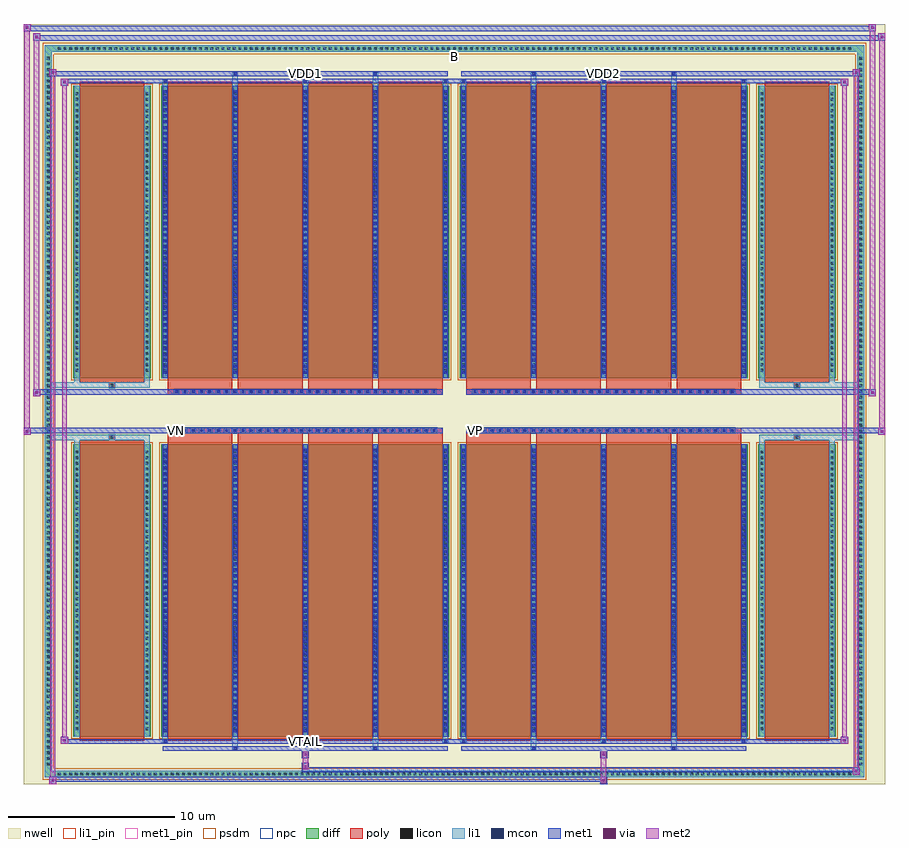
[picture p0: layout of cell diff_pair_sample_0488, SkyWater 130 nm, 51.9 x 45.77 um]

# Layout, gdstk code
import gdstk
lib = gdstk.Library(unit=1e-6, precision=5e-09)
def R(c, l, rs):  # rectangles x0, y0, x1, y1
    for r in rs: c.add(gdstk.rectangle(r[:2], r[2:], *l))
def A(c, l, x, y, w, h, nx, ny, dx, dy):  # array of equal rectangles
    R(c, l, [(x+i*dx, y+j*dy, x+i*dx+w, y+j*dy+h) for i in range(nx) for j in range(ny)])
def P(c, l, *ps):  # polygons
    for p in ps: c.add(gdstk.Polygon(p, *l))
nwell = (64, 20)
diff = (65, 20)
poly = (66, 20)
licon = (66, 44)
li1_pin = (67, 16)
li1 = (67, 20)
mcon = (67, 44)
met1_pin = (68, 16)
met1 = (68, 20)
via = (68, 44)
met2 = (69, 20)
psdm = (94, 20)
npc = (95, 20)

diff_pair_sample_0488 = lib.new_cell('diff_pair_sample_0488')
R(diff_pair_sample_0488, nwell, [(-25.95,-22.45,25.95,23.32), (-23.27,-20.64,-0.01,-0.8), (0.01,-20.64,23.27,-0.8), (-23.27,0.8,-0.01,20.64), (0.01,0.8,23.27,20.64)])
A(diff_pair_sample_0488, diff, -24.005, -22.05, 0.41, 0.41, 141, 2, 0.34, 43.69)
A(diff_pair_sample_0488, diff, -24.68, -21.455, 0.41, 0.41, 1, 126, 0, 0.34)
A(diff_pair_sample_0488, diff, 24.27, -21.455, 0.41, 0.41, 1, 126, 0, 0.34)
R(diff_pair_sample_0488, diff, [(-24.005,-22.05,24.005,-21.64), (-24.68,-21.455,-24.27,21.455), (24.27,-21.455,24.68,21.455), (-22.96,-19.595,-18.29,-1.985), (-17.65,-19.595,-0.32,-1.985), (0.32,-19.595,17.65,-1.985), (18.29,-19.595,22.96,-1.985), (-22.96,1.985,-18.29,19.595), (-17.65,1.985,-0.32,19.595), (0.32,1.985,17.65,19.595), (18.29,1.985,22.96,19.595), (-24.005,21.64,24.005,22.05)])
P(diff_pair_sample_0488, diff, [(24.68,22.05),(-24.68,22.05),(-24.68,-21.64),(-24.27,-21.64),(-24.27,21.64),(24.27,21.64),(24.27,-21.64),(-24.27,-21.64),(-24.68,-21.64),(-24.68,-22.05),(24.68,-22.05)])
A(diff_pair_sample_0488, poly, -17.26, -19.845, 3.89, 18.11, 4, 2, 4.22, 21.58)
A(diff_pair_sample_0488, poly, 0.71, -19.845, 3.89, 18.11, 4, 2, 4.22, 21.58)
A(diff_pair_sample_0488, poly, -17.26, -1.735, 3.89, 0.405, 4, 2, 4.22, 3.065)
A(diff_pair_sample_0488, poly, 0.71, -1.735, 3.89, 0.405, 4, 2, 4.22, 3.065)
A(diff_pair_sample_0488, poly, -16.9, -1.33, 0.33, 0.33, 32, 2, 0.5, 2.33)
A(diff_pair_sample_0488, poly, 1.07, -1.33, 0.33, 0.33, 32, 2, 0.5, 2.33)
R(diff_pair_sample_0488, poly, [(-22.57,-19.845,-18.68,-1.735), (18.68,-19.845,22.57,-1.735), (-20.79,-1.735,-20.46,-1.405), (-20.79,-1.735,-20.46,-1.405), (20.46,-1.735,20.79,-1.405), (20.46,-1.735,20.79,-1.405), (-17.26,-1.33,-0.71,-1), (0.71,-1.33,17.26,-1), (-17.26,1,-0.71,1.33), (0.71,1,17.26,1.33), (-20.79,1.405,-20.46,1.735), (-20.79,1.405,-20.46,1.735), (20.46,1.405,20.79,1.735), (20.46,1.405,20.79,1.735), (-22.57,1.735,-18.68,19.845), (18.68,1.735,22.57,19.845)])
A(diff_pair_sample_0488, licon, -23.885, -21.93, 0.17, 0.17, 141, 2, 0.34, 43.69)
A(diff_pair_sample_0488, licon, -24.56, -21.335, 0.17, 0.17, 1, 126, 0, 0.34)
A(diff_pair_sample_0488, licon, 24.39, -21.335, 0.17, 0.17, 1, 126, 0, 0.34)
A(diff_pair_sample_0488, licon, -22.82, -19.205, 0.17, 0.17, 1, 50, 0, 0.34)
A(diff_pair_sample_0488, licon, -18.6, -19.205, 0.17, 0.17, 1, 50, 0, 0.34)
A(diff_pair_sample_0488, licon, -17.51, -19.205, 0.17, 0.17, 5, 50, 4.22, 0.34)
A(diff_pair_sample_0488, licon, 0.46, -19.205, 0.17, 0.17, 5, 50, 4.22, 0.34)
A(diff_pair_sample_0488, licon, 18.43, -19.205, 0.17, 0.17, 1, 50, 0, 0.34)
A(diff_pair_sample_0488, licon, 22.65, -19.205, 0.17, 0.17, 1, 50, 0, 0.34)
A(diff_pair_sample_0488, licon, -16.82, -1.25, 0.17, 0.17, 32, 2, 0.5, 2.33)
A(diff_pair_sample_0488, licon, 1.15, -1.25, 0.17, 0.17, 32, 2, 0.5, 2.33)
A(diff_pair_sample_0488, licon, -22.82, 2.375, 0.17, 0.17, 1, 50, 0, 0.34)
A(diff_pair_sample_0488, licon, -18.6, 2.375, 0.17, 0.17, 1, 50, 0, 0.34)
A(diff_pair_sample_0488, licon, -17.51, 2.375, 0.17, 0.17, 5, 50, 4.22, 0.34)
A(diff_pair_sample_0488, licon, 0.46, 2.375, 0.17, 0.17, 5, 50, 4.22, 0.34)
A(diff_pair_sample_0488, licon, 18.43, 2.375, 0.17, 0.17, 1, 50, 0, 0.34)
A(diff_pair_sample_0488, licon, 22.65, 2.375, 0.17, 0.17, 1, 50, 0, 0.34)
R(diff_pair_sample_0488, licon, [(-20.71,-1.655,-20.54,-1.485), (20.54,-1.655,20.71,-1.485), (-20.71,1.485,-20.54,1.655), (20.54,1.485,20.71,1.655)])
R(diff_pair_sample_0488, li1_pin, [(-0.25,21.14,0.25,21.64)])
A(diff_pair_sample_0488, li1, -23.965, -22.01, 0.33, 0.33, 141, 2, 0.34, 43.69)
A(diff_pair_sample_0488, li1, -24.64, -21.415, 0.33, 0.33, 1, 126, 0, 0.34)
A(diff_pair_sample_0488, li1, 24.31, -21.415, 0.33, 0.33, 1, 126, 0, 0.34)
A(diff_pair_sample_0488, li1, -17.59, -19.97, 0.33, 0.375, 3, 2, 8.44, 39.565)
A(diff_pair_sample_0488, li1, -17.51, -19.97, 0.17, 0.17, 3, 2, 8.44, 39.77)
A(diff_pair_sample_0488, li1, 0.38, -19.97, 0.33, 0.375, 3, 2, 8.44, 39.565)
A(diff_pair_sample_0488, li1, 0.46, -19.97, 0.17, 0.17, 3, 2, 8.44, 39.77)
A(diff_pair_sample_0488, li1, -17.59, -19.595, 0.33, 17.61, 5, 2, 4.22, 21.58)
A(diff_pair_sample_0488, li1, 0.38, -19.595, 0.33, 17.61, 5, 2, 4.22, 21.58)
A(diff_pair_sample_0488, li1, -17.51, -19.335, 0.17, 0.17, 5, 48, 4.22, 0.36)
A(diff_pair_sample_0488, li1, -17.51, -19.335, 0.17, 17.09, 5, 2, 4.22, 21.58)
A(diff_pair_sample_0488, li1, 0.46, -19.335, 0.17, 0.17, 5, 48, 4.22, 0.36)
A(diff_pair_sample_0488, li1, 0.46, -19.335, 0.17, 17.09, 5, 2, 4.22, 21.58)
A(diff_pair_sample_0488, li1, -22.9, -19.285, 0.33, 0.33, 1, 50, 0, 0.34)
A(diff_pair_sample_0488, li1, -18.68, -19.285, 0.33, 0.33, 1, 50, 0, 0.34)
A(diff_pair_sample_0488, li1, -17.59, -19.285, 0.33, 0.33, 5, 50, 4.22, 0.34)
A(diff_pair_sample_0488, li1, 0.38, -19.285, 0.33, 0.33, 5, 50, 4.22, 0.34)
A(diff_pair_sample_0488, li1, 18.35, -19.285, 0.33, 0.33, 1, 50, 0, 0.34)
A(diff_pair_sample_0488, li1, 22.57, -19.285, 0.33, 0.33, 1, 50, 0, 0.34)
A(diff_pair_sample_0488, li1, -16.9, -1.33, 0.33, 0.33, 32, 2, 0.5, 2.33)
A(diff_pair_sample_0488, li1, 1.07, -1.33, 0.33, 0.33, 32, 2, 0.5, 2.33)
A(diff_pair_sample_0488, li1, -17.51, 2.245, 0.17, 0.17, 5, 48, 4.22, 0.36)
A(diff_pair_sample_0488, li1, 0.46, 2.245, 0.17, 0.17, 5, 48, 4.22, 0.36)
A(diff_pair_sample_0488, li1, -22.9, 2.295, 0.33, 0.33, 1, 50, 0, 0.34)
A(diff_pair_sample_0488, li1, -18.68, 2.295, 0.33, 0.33, 1, 50, 0, 0.34)
A(diff_pair_sample_0488, li1, -17.59, 2.295, 0.33, 0.33, 5, 50, 4.22, 0.34)
A(diff_pair_sample_0488, li1, 0.38, 2.295, 0.33, 0.33, 5, 50, 4.22, 0.34)
A(diff_pair_sample_0488, li1, 18.35, 2.295, 0.33, 0.33, 1, 50, 0, 0.34)
A(diff_pair_sample_0488, li1, 22.57, 2.295, 0.33, 0.33, 1, 50, 0, 0.34)
R(diff_pair_sample_0488, li1, [(-24.68,-22.05,-24.27,-21.64), (-24.68,-22.05,-24.27,-21.64), (-24.27,-22.05,24.27,-21.64), (24.27,-22.05,24.68,-21.64), (24.27,-22.05,24.68,-21.64), (-24.68,-21.64,-24.27,21.64), (24.27,-21.64,24.68,21.64), (-13.37,-20.4,-13.04,-19.595), (-13.29,-20.4,-13.12,-20.23), (-4.93,-20.4,-4.6,-19.595), (-4.85,-20.4,-4.68,-20.23), (4.6,-20.4,4.93,-19.595), (4.68,-20.4,4.85,-20.23), (13.04,-20.4,13.37,-19.595), (13.12,-20.4,13.29,-20.23), (-22.9,-19.595,-22.57,-1.985), (-18.68,-19.595,-18.35,-1.985), (18.35,-19.595,18.68,-1.985), (22.57,-19.595,22.9,-1.985), (-22.9,-1.985,-22.57,-1.405), (-18.68,-1.985,-18.35,-1.405), (18.35,-1.985,18.68,-1.405), (22.57,-1.985,22.9,-1.405), (-24.68,-1.735,-20.79,-1.405), (-22.9,-1.735,-20.79,-1.405), (-20.79,-1.735,-20.46,-1.405), (-20.46,-1.735,-18.35,-1.405), (18.35,-1.735,20.46,-1.405), (20.46,-1.735,20.79,-1.405), (20.46,-1.735,24.68,-1.405), (20.79,-1.735,22.9,-1.405), (-24.68,1.405,-20.79,1.735), (-22.9,1.405,-20.79,1.735), (-22.9,1.405,-22.57,1.985), (-20.79,1.405,-20.46,1.735), (-20.46,1.405,-18.35,1.735), (-18.68,1.405,-18.35,1.985), (18.35,1.405,20.46,1.735), (18.35,1.405,18.68,1.985), (20.46,1.405,20.79,1.735), (20.46,1.405,24.68,1.735), (20.79,1.405,22.9,1.735), (22.57,1.405,22.9,1.985), (-22.9,1.985,-22.57,19.595), (-18.68,1.985,-18.35,19.595), (18.35,1.985,18.68,19.595), (22.57,1.985,22.9,19.595), (-13.37,19.595,-13.04,20.4), (-4.93,19.595,-4.6,20.4), (4.6,19.595,4.93,20.4), (13.04,19.595,13.37,20.4), (-13.29,20.23,-13.12,20.4), (-4.85,20.23,-4.68,20.4), (4.68,20.23,4.85,20.4), (13.12,20.23,13.29,20.4), (-24.68,21.64,-24.27,22.05), (-24.68,21.64,-24.27,22.05), (-24.27,21.64,24.27,22.05), (24.27,21.64,24.68,22.05), (24.27,21.64,24.68,22.05)])
A(diff_pair_sample_0488, mcon, -17.51, -19.97, 0.17, 0.17, 3, 2, 8.44, 39.77)
A(diff_pair_sample_0488, mcon, 0.46, -19.97, 0.17, 0.17, 3, 2, 8.44, 39.77)
A(diff_pair_sample_0488, mcon, -17.51, -19.335, 0.17, 0.17, 5, 48, 4.22, 0.36)
A(diff_pair_sample_0488, mcon, 0.46, -19.335, 0.17, 0.17, 5, 48, 4.22, 0.36)
A(diff_pair_sample_0488, mcon, -16.82, -1.25, 0.17, 0.17, 32, 2, 0.5, 2.33)
A(diff_pair_sample_0488, mcon, 1.15, -1.25, 0.17, 0.17, 32, 2, 0.5, 2.33)
A(diff_pair_sample_0488, mcon, -17.51, 2.245, 0.17, 0.17, 5, 48, 4.22, 0.36)
A(diff_pair_sample_0488, mcon, 0.46, 2.245, 0.17, 0.17, 5, 48, 4.22, 0.36)
R(diff_pair_sample_0488, mcon, [(-13.29,-20.4,-13.12,-20.23), (-4.85,-20.4,-4.68,-20.23), (4.68,-20.4,4.85,-20.23), (13.12,-20.4,13.29,-20.23), (-13.29,20.23,-13.12,20.4), (-4.85,20.23,-4.68,20.4), (4.68,20.23,4.85,20.4), (13.12,20.23,13.29,20.4)])
R(diff_pair_sample_0488, met1_pin, [(-9.12,-20.01,-8.85,-19.74), (-16.87,-1.29,-16.6,-1.02), (1.1,-1.29,1.37,-1.02), (-9.12,20.19,-8.85,20.46), (8.85,20.19,9.12,20.46)])
A(diff_pair_sample_0488, met1, -17.57, -20.03, 0.29, 0.29, 3, 2, 8.44, 39.77)
A(diff_pair_sample_0488, met1, 0.4, -20.03, 0.29, 0.29, 3, 2, 8.44, 39.77)
A(diff_pair_sample_0488, met1, -17.57, -19.595, 0.29, 17.61, 5, 2, 4.22, 21.58)
A(diff_pair_sample_0488, met1, 0.4, -19.595, 0.29, 17.61, 5, 2, 4.22, 21.58)
A(diff_pair_sample_0488, met1, -17.57, -19.395, 0.29, 0.29, 5, 48, 4.22, 0.36)
A(diff_pair_sample_0488, met1, 0.4, -19.395, 0.29, 0.29, 5, 48, 4.22, 0.36)
A(diff_pair_sample_0488, met1, -16.88, -1.31, 0.29, 0.29, 32, 2, 0.5, 2.33)
A(diff_pair_sample_0488, met1, 1.09, -1.31, 0.29, 0.29, 32, 2, 0.5, 2.33)
A(diff_pair_sample_0488, met1, -17.57, 2.185, 0.29, 0.29, 5, 48, 4.22, 0.36)
A(diff_pair_sample_0488, met1, 0.4, 2.185, 0.29, 0.29, 5, 48, 4.22, 0.36)
R(diff_pair_sample_0488, met1, [(-24.41,-22.45,-23.98,-22.02), (8.77,-22.45,9.2,-22.02), (-24.41,-22.31,9.2,-22.02), (23.98,-21.88,24.41,-21.45), (-9.2,-21.74,24.41,-21.45), (-9.2,-21.6,-8.77,-21.17), (-9.2,-20.89,-8.77,-20.46), (8.77,-20.89,9.2,-20.46), (-17.57,-20.46,-0.4,-20.17), (-13.35,-20.46,-13.06,-20.17), (-4.91,-20.46,-4.62,-20.17), (0.4,-20.46,17.57,-20.17), (4.62,-20.46,4.91,-20.17), (13.06,-20.46,13.35,-20.17), (-23.7,-20.03,-23.27,-19.6), (-23.7,-20.03,-17.57,-19.74), (-17.57,-20.03,-0.4,-19.74), (-0.4,-20.03,0.4,-19.74), (0.4,-20.03,17.57,-19.74), (17.57,-20.03,23.7,-19.74), (23.27,-20.03,23.7,-19.6), (-25.95,-1.43,-25.52,-1), (25.52,-1.43,25.95,-1), (-25.95,-1.33,-0.71,-1), (-17.26,-1.33,-0.71,-1), (0.71,-1.33,17.26,-1), (0.71,-1.33,25.95,-1), (-25.38,0.9,-24.95,1.33), (24.95,0.9,25.38,1.33), (-25.38,1,-17.26,1.33), (-17.26,1,-0.71,1.33), (0.71,1,17.26,1.33), (17.26,1,25.38,1.33), (-23.7,19.6,-23.27,20.03), (23.27,19.6,23.7,20.03), (-23.7,19.74,-17.57,20.03), (-17.57,19.74,-0.4,20.03), (-0.4,19.74,0.4,20.03), (0.4,19.74,17.57,20.03), (17.57,19.74,23.7,20.03), (-24.41,20.17,-23.98,20.6), (-24.41,20.17,-17.57,20.46), (-17.57,20.17,-0.4,20.46), (-13.35,20.17,-13.06,20.46), (-4.91,20.17,-4.62,20.46), (0.4,20.17,17.57,20.46), (4.62,20.17,4.91,20.46), (13.06,20.17,13.35,20.46), (17.57,20.17,24.41,20.46), (23.98,20.17,24.41,20.6), (-25.38,22.32,-24.95,22.75), (-25.38,22.32,-23.27,22.65), (-23.27,22.32,23.27,22.65), (23.27,22.32,25.95,22.65), (25.52,22.32,25.95,22.75), (-25.95,22.89,-25.52,23.32), (-25.95,22.89,-23.27,23.22), (-23.27,22.89,23.27,23.22), (23.27,22.89,25.38,23.22), (24.95,22.89,25.38,23.32)])
R(diff_pair_sample_0488, via, [(-24.27,-22.31,-24.12,-22.16), (8.91,-22.31,9.06,-22.16), (24.12,-21.74,24.27,-21.59), (-9.06,-21.46,-8.91,-21.31), (-9.06,-20.75,-8.91,-20.6), (8.91,-20.75,9.06,-20.6), (-23.56,-19.89,-23.41,-19.74), (23.41,-19.89,23.56,-19.74), (-25.81,-1.29,-25.66,-1.14), (25.66,-1.29,25.81,-1.14), (-25.24,1.04,-25.09,1.19), (25.09,1.04,25.24,1.19), (-23.56,19.74,-23.41,19.89), (23.41,19.74,23.56,19.89), (-24.27,20.31,-24.12,20.46), (24.12,20.31,24.27,20.46), (-25.24,22.46,-25.09,22.61), (25.66,22.46,25.81,22.61), (-25.81,23.03,-25.66,23.18), (25.09,23.03,25.24,23.18)])
R(diff_pair_sample_0488, met2, [(-24.41,-22.45,-23.98,-22.02), (-24.34,-22.45,-24.05,20.6), (-24.05,-22.45,-23.98,-22.02), (-24.36,-22.4,-24.03,-22.07), (8.82,-22.4,9.15,-22.07), (8.82,-22.07,9.15,-20.84), (23.98,-21.88,24.41,-21.45), (24.05,-21.88,24.34,20.6), (24.34,-21.88,24.41,-21.45), (24.03,-21.83,24.36,-21.5), (-9.15,-21.55,-8.82,-21.22), (-9.15,-21.22,-8.82,-20.84), (-9.15,-20.84,-8.82,-20.51), (8.82,-20.84,9.15,-20.51), (-23.7,-20.03,-23.27,-19.6), (-23.63,-20.03,-23.34,20.03), (-23.34,-20.03,-23.27,-19.6), (23.27,-20.03,23.7,-19.6), (23.34,-20.03,23.63,20.03), (23.63,-20.03,23.7,-19.6), (-23.65,-19.98,-23.32,-19.65), (23.32,-19.98,23.65,-19.65), (-25.95,-1.43,-25.52,-1), (-25.9,-1.43,-25.57,23.32), (-25.57,-1.43,-25.52,-1), (25.52,-1.43,25.95,-1), (25.57,-1.43,25.9,22.75), (25.9,-1.43,25.95,-1), (-25.9,-1.38,-25.57,-1.05), (25.57,-1.38,25.9,-1.05), (-25.38,0.9,-24.95,1.33), (-25.33,0.9,-25,22.75), (-25,0.9,-24.95,1.33), (24.95,0.9,25.38,1.33), (25,0.9,25.33,23.32), (25.33,0.9,25.38,1.33), (-25.33,0.95,-25,1.28), (25,0.95,25.33,1.28), (-23.7,19.6,-23.27,20.03), (-23.34,19.6,-23.27,20.03), (23.27,19.6,23.7,20.03), (23.63,19.6,23.7,20.03), (-23.65,19.65,-23.32,19.98), (23.32,19.65,23.65,19.98), (-24.41,20.17,-23.98,20.6), (-24.05,20.17,-23.98,20.6), (23.98,20.17,24.41,20.6), (24.34,20.17,24.41,20.6), (-24.36,20.22,-24.03,20.55), (24.03,20.22,24.36,20.55), (-25.38,22.32,-24.95,22.75), (-25,22.32,-24.95,22.75), (25.52,22.32,25.95,22.75), (25.9,22.32,25.95,22.75), (-25.33,22.37,-25,22.7), (25.57,22.37,25.9,22.7), (-25.95,22.89,-25.52,23.32), (-25.57,22.89,-25.52,23.32), (24.95,22.89,25.38,23.32), (25.33,22.89,25.38,23.32), (-25.9,22.94,-25.57,23.27), (25,22.94,25.33,23.27)])
R(diff_pair_sample_0488, psdm, [(-23.09,-19.725,-18.16,-1.855), (-17.78,-19.725,-0.19,-1.855), (0.19,-19.725,17.78,-1.855), (18.16,-19.725,23.09,-1.855), (-23.09,1.855,-18.16,19.725), (-17.78,1.855,-0.19,19.725), (0.19,1.855,17.78,19.725), (18.16,1.855,23.09,19.725)])
P(diff_pair_sample_0488, psdm, [(24.81,22.18),(-24.81,22.18),(-24.81,-21.51),(-24.14,-21.51),(-24.14,21.51),(24.14,21.51),(24.14,-21.51),(-24.14,-21.51),(-24.81,-21.51),(-24.81,-22.18),(24.81,-22.18)])
A(diff_pair_sample_0488, npc, -16.92, -1.35, 0.37, 0.37, 32, 2, 0.5, 2.33)
A(diff_pair_sample_0488, npc, 1.05, -1.35, 0.37, 0.37, 32, 2, 0.5, 2.33)
R(diff_pair_sample_0488, npc, [(-20.81,-1.755,-20.44,-1.385), (20.44,-1.755,20.81,-1.385), (-16.92,-1.35,-16.05,-0.98), (-16.92,-1.35,-16.05,-0.98), (-16.42,-1.35,-15.55,-0.98), (-16.42,-1.35,-15.55,-0.98), (-15.92,-1.35,-15.05,-0.98), (-15.92,-1.35,-15.05,-0.98), (-15.42,-1.35,-14.55,-0.98), (-15.42,-1.35,-14.55,-0.98), (-14.92,-1.35,-14.05,-0.98), (-14.92,-1.35,-14.05,-0.98), (-14.42,-1.35,-13.55,-0.98), (-14.42,-1.35,-13.55,-0.98), (-13.92,-1.35,-13.05,-0.98), (-13.92,-1.35,-13.05,-0.98), (-13.42,-1.35,-12.55,-0.98), (-13.42,-1.35,-12.55,-0.98), (-12.92,-1.35,-12.05,-0.98), (-12.92,-1.35,-12.05,-0.98), (-12.42,-1.35,-11.55,-0.98), (-12.42,-1.35,-11.55,-0.98), (-11.92,-1.35,-11.05,-0.98), (-11.92,-1.35,-11.05,-0.98), (-11.42,-1.35,-10.55,-0.98), (-11.42,-1.35,-10.55,-0.98), (-10.92,-1.35,-10.05,-0.98), (-10.92,-1.35,-10.05,-0.98), (-10.42,-1.35,-9.55,-0.98), (-10.42,-1.35,-9.55,-0.98), (-9.92,-1.35,-9.05,-0.98), (-9.92,-1.35,-9.05,-0.98), (-9.42,-1.35,-8.55,-0.98), (-9.42,-1.35,-8.55,-0.98), (-8.92,-1.35,-8.05,-0.98), (-8.92,-1.35,-8.05,-0.98), (-8.42,-1.35,-7.55,-0.98), (-8.42,-1.35,-7.55,-0.98), (-7.92,-1.35,-7.05,-0.98), (-7.92,-1.35,-7.05,-0.98), (-7.42,-1.35,-6.55,-0.98), (-7.42,-1.35,-6.55,-0.98), (-6.92,-1.35,-6.05,-0.98), (-6.92,-1.35,-6.05,-0.98), (-6.42,-1.35,-5.55,-0.98), (-6.42,-1.35,-5.55,-0.98), (-5.92,-1.35,-5.05,-0.98), (-5.92,-1.35,-5.05,-0.98), (-5.42,-1.35,-4.55,-0.98), (-5.42,-1.35,-4.55,-0.98), (-4.92,-1.35,-4.05,-0.98), (-4.92,-1.35,-4.05,-0.98), (-4.42,-1.35,-3.55,-0.98), (-4.42,-1.35,-3.55,-0.98), (-3.92,-1.35,-3.05,-0.98), (-3.92,-1.35,-3.05,-0.98), (-3.42,-1.35,-2.55,-0.98), (-3.42,-1.35,-2.55,-0.98), (-2.92,-1.35,-2.05,-0.98), (-2.92,-1.35,-2.05,-0.98), (-2.42,-1.35,-1.55,-0.98), (-2.42,-1.35,-1.55,-0.98), (-1.92,-1.35,-1.05,-0.98), (-1.92,-1.35,-1.05,-0.98), (1.05,-1.35,1.92,-0.98), (1.05,-1.35,1.92,-0.98), (1.55,-1.35,2.42,-0.98), (1.55,-1.35,2.42,-0.98), (2.05,-1.35,2.92,-0.98), (2.05,-1.35,2.92,-0.98), (2.55,-1.35,3.42,-0.98), (2.55,-1.35,3.42,-0.98), (3.05,-1.35,3.92,-0.98), (3.05,-1.35,3.92,-0.98), (3.55,-1.35,4.42,-0.98), (3.55,-1.35,4.42,-0.98), (4.05,-1.35,4.92,-0.98), (4.05,-1.35,4.92,-0.98), (4.55,-1.35,5.42,-0.98), (4.55,-1.35,5.42,-0.98), (5.05,-1.35,5.92,-0.98), (5.05,-1.35,5.92,-0.98), (5.55,-1.35,6.42,-0.98), (5.55,-1.35,6.42,-0.98), (6.05,-1.35,6.92,-0.98), (6.05,-1.35,6.92,-0.98), (6.55,-1.35,7.42,-0.98), (6.55,-1.35,7.42,-0.98), (7.05,-1.35,7.92,-0.98), (7.05,-1.35,7.92,-0.98), (7.55,-1.35,8.42,-0.98), (7.55,-1.35,8.42,-0.98), (8.05,-1.35,8.92,-0.98), (8.05,-1.35,8.92,-0.98), (8.55,-1.35,9.42,-0.98), (8.55,-1.35,9.42,-0.98), (9.05,-1.35,9.92,-0.98), (9.05,-1.35,9.92,-0.98), (9.55,-1.35,10.42,-0.98), (9.55,-1.35,10.42,-0.98), (10.05,-1.35,10.92,-0.98), (10.05,-1.35,10.92,-0.98), (10.55,-1.35,11.42,-0.98), (10.55,-1.35,11.42,-0.98), (11.05,-1.35,11.92,-0.98), (11.05,-1.35,11.92,-0.98), (11.55,-1.35,12.42,-0.98), (11.55,-1.35,12.42,-0.98), (12.05,-1.35,12.92,-0.98), (12.05,-1.35,12.92,-0.98), (12.55,-1.35,13.42,-0.98), (12.55,-1.35,13.42,-0.98), (13.05,-1.35,13.92,-0.98), (13.05,-1.35,13.92,-0.98), (13.55,-1.35,14.42,-0.98), (13.55,-1.35,14.42,-0.98), (14.05,-1.35,14.92,-0.98), (14.05,-1.35,14.92,-0.98), (14.55,-1.35,15.42,-0.98), (14.55,-1.35,15.42,-0.98), (15.05,-1.35,15.92,-0.98), (15.05,-1.35,15.92,-0.98), (15.55,-1.35,16.42,-0.98), (15.55,-1.35,16.42,-0.98), (16.05,-1.35,16.92,-0.98), (16.05,-1.35,16.92,-0.98), (-16.92,0.98,-16.05,1.35), (-16.92,0.98,-16.05,1.35), (-16.42,0.98,-15.55,1.35), (-16.42,0.98,-15.55,1.35), (-15.92,0.98,-15.05,1.35), (-15.92,0.98,-15.05,1.35), (-15.42,0.98,-14.55,1.35), (-15.42,0.98,-14.55,1.35), (-14.92,0.98,-14.05,1.35), (-14.92,0.98,-14.05,1.35), (-14.42,0.98,-13.55,1.35), (-14.42,0.98,-13.55,1.35), (-13.92,0.98,-13.05,1.35), (-13.92,0.98,-13.05,1.35), (-13.42,0.98,-12.55,1.35), (-13.42,0.98,-12.55,1.35), (-12.92,0.98,-12.05,1.35), (-12.92,0.98,-12.05,1.35), (-12.42,0.98,-11.55,1.35), (-12.42,0.98,-11.55,1.35), (-11.92,0.98,-11.05,1.35), (-11.92,0.98,-11.05,1.35), (-11.42,0.98,-10.55,1.35), (-11.42,0.98,-10.55,1.35), (-10.92,0.98,-10.05,1.35), (-10.92,0.98,-10.05,1.35), (-10.42,0.98,-9.55,1.35), (-10.42,0.98,-9.55,1.35), (-9.92,0.98,-9.05,1.35), (-9.92,0.98,-9.05,1.35), (-9.42,0.98,-8.55,1.35), (-9.42,0.98,-8.55,1.35), (-8.92,0.98,-8.05,1.35), (-8.92,0.98,-8.05,1.35), (-8.42,0.98,-7.55,1.35), (-8.42,0.98,-7.55,1.35), (-7.92,0.98,-7.05,1.35), (-7.92,0.98,-7.05,1.35), (-7.42,0.98,-6.55,1.35), (-7.42,0.98,-6.55,1.35), (-6.92,0.98,-6.05,1.35), (-6.92,0.98,-6.05,1.35), (-6.42,0.98,-5.55,1.35), (-6.42,0.98,-5.55,1.35), (-5.92,0.98,-5.05,1.35), (-5.92,0.98,-5.05,1.35), (-5.42,0.98,-4.55,1.35), (-5.42,0.98,-4.55,1.35), (-4.92,0.98,-4.05,1.35), (-4.92,0.98,-4.05,1.35), (-4.42,0.98,-3.55,1.35), (-4.42,0.98,-3.55,1.35), (-3.92,0.98,-3.05,1.35), (-3.92,0.98,-3.05,1.35), (-3.42,0.98,-2.55,1.35), (-3.42,0.98,-2.55,1.35), (-2.92,0.98,-2.05,1.35), (-2.92,0.98,-2.05,1.35), (-2.42,0.98,-1.55,1.35), (-2.42,0.98,-1.55,1.35), (-1.92,0.98,-1.05,1.35), (-1.92,0.98,-1.05,1.35), (1.05,0.98,1.92,1.35), (1.05,0.98,1.92,1.35), (1.55,0.98,2.42,1.35), (1.55,0.98,2.42,1.35), (2.05,0.98,2.92,1.35), (2.05,0.98,2.92,1.35), (2.55,0.98,3.42,1.35), (2.55,0.98,3.42,1.35), (3.05,0.98,3.92,1.35), (3.05,0.98,3.92,1.35), (3.55,0.98,4.42,1.35), (3.55,0.98,4.42,1.35), (4.05,0.98,4.92,1.35), (4.05,0.98,4.92,1.35), (4.55,0.98,5.42,1.35), (4.55,0.98,5.42,1.35), (5.05,0.98,5.92,1.35), (5.05,0.98,5.92,1.35), (5.55,0.98,6.42,1.35), (5.55,0.98,6.42,1.35), (6.05,0.98,6.92,1.35), (6.05,0.98,6.92,1.35), (6.55,0.98,7.42,1.35), (6.55,0.98,7.42,1.35), (7.05,0.98,7.92,1.35), (7.05,0.98,7.92,1.35), (7.55,0.98,8.42,1.35), (7.55,0.98,8.42,1.35), (8.05,0.98,8.92,1.35), (8.05,0.98,8.92,1.35), (8.55,0.98,9.42,1.35), (8.55,0.98,9.42,1.35), (9.05,0.98,9.92,1.35), (9.05,0.98,9.92,1.35), (9.55,0.98,10.42,1.35), (9.55,0.98,10.42,1.35), (10.05,0.98,10.92,1.35), (10.05,0.98,10.92,1.35), (10.55,0.98,11.42,1.35), (10.55,0.98,11.42,1.35), (11.05,0.98,11.92,1.35), (11.05,0.98,11.92,1.35), (11.55,0.98,12.42,1.35), (11.55,0.98,12.42,1.35), (12.05,0.98,12.92,1.35), (12.05,0.98,12.92,1.35), (12.55,0.98,13.42,1.35), (12.55,0.98,13.42,1.35), (13.05,0.98,13.92,1.35), (13.05,0.98,13.92,1.35), (13.55,0.98,14.42,1.35), (13.55,0.98,14.42,1.35), (14.05,0.98,14.92,1.35), (14.05,0.98,14.92,1.35), (14.55,0.98,15.42,1.35), (14.55,0.98,15.42,1.35), (15.05,0.98,15.92,1.35), (15.05,0.98,15.92,1.35), (15.55,0.98,16.42,1.35), (15.55,0.98,16.42,1.35), (16.05,0.98,16.92,1.35), (16.05,0.98,16.92,1.35), (-20.81,1.385,-20.44,1.755), (20.44,1.385,20.81,1.755)])
diff_pair_sample_0488.add(gdstk.Label('VTAIL', (-8.985,-19.875), layer=68, texttype=5))
diff_pair_sample_0488.add(gdstk.Label('VN', (-16.735,-1.155), layer=68, texttype=5))
diff_pair_sample_0488.add(gdstk.Label('VP', (1.235,-1.155), layer=68, texttype=5))
diff_pair_sample_0488.add(gdstk.Label('B', (0,21.39), layer=67, texttype=5))
diff_pair_sample_0488.add(gdstk.Label('VDD2', (8.985,20.325), layer=68, texttype=5))
diff_pair_sample_0488.add(gdstk.Label('VDD1', (-8.985,20.325), layer=68, texttype=5))

lib.write_gds('diff_pair_sample_0488.gds')
